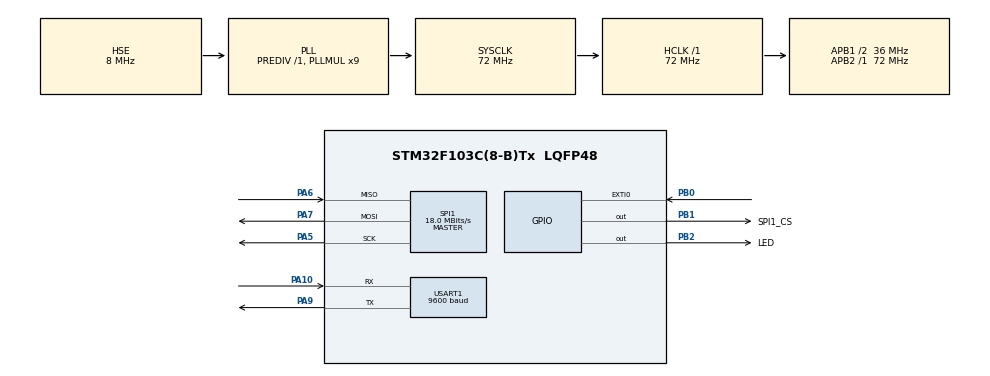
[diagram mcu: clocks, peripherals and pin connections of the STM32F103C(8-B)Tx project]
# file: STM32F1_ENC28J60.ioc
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Mcu.Family=STM32F1
Mcu.Name=STM32F103C(8-B)Tx
Mcu.Package=LQFP48
NVIC.PriorityGroup=NVIC_PRIORITYGROUP_4
NVIC.TIM2_IRQn=true\:0\:0\:false\:false\:true\:true\:true\:true
NVIC.USART1_IRQn=true\:0\:0\:false\:false\:true\:true\:true\:true
PA10.Mode=Asynchronous
PA10.Signal=USART1_RX
PA13.Mode=Serial_Wire
PA13.Signal=SYS_JTMS-SWDIO
PA14.Mode=Serial_Wire
PA14.Signal=SYS_JTCK-SWCLK
PA5.Mode=Full_Duplex_Master
PA5.Signal=SPI1_SCK
PA6.Mode=Full_Duplex_Master
PA6.Signal=SPI1_MISO
PA7.Mode=Full_Duplex_Master
PA7.Signal=SPI1_MOSI
PA9.Mode=Asynchronous
PA9.Signal=USART1_TX
PB0.GPIO_ModeDefaultEXTI=GPIO_MODE_IT_FALLING
PB0.GPIO_PuPd=GPIO_PULLUP
PB0.Signal=GPXTI0
PB1.GPIO_Label=SPI1_CS
PB1.GPIO_PuPd=GPIO_PULLUP
PB1.GPIO_Speed=GPIO_SPEED_FREQ_HIGH
PB1.PinState=GPIO_PIN_SET
PB1.Signal=GPIO_Output
PB2.GPIO_Label=LED
PB2.Signal=GPIO_Output
PD0-OSC_IN.Mode=HSE-External-Oscillator
PD0-OSC_IN.Signal=RCC_OSC_IN
PD1-OSC_OUT.Mode=HSE-External-Oscillator
PD1-OSC_OUT.Signal=RCC_OSC_OUT
ProjectManager.HeapSize=0x200
ProjectManager.StackSize=0x400
ProjectManager.TargetToolchain=MDK-ARM V5.32
RCC.AHBFreq_Value=72000000
RCC.APB1CLKDivider=RCC_HCLK_DIV2
RCC.APB1Freq_Value=36000000
RCC.APB1TimFreq_Value=72000000
RCC.APB2Freq_Value=72000000
RCC.APB2TimFreq_Value=72000000
RCC.HCLKFreq_Value=72000000
RCC.PLLMUL=RCC_PLL_MUL9
RCC.PLLSourceVirtual=RCC_PLLSOURCE_HSE
RCC.SYSCLKFreq_VALUE=72000000
RCC.SYSCLKSource=RCC_SYSCLKSOURCE_PLLCLK
RCC.USBFreq_Value=72000000
SPI1.BaudRatePrescaler=SPI_BAUDRATEPRESCALER_4
SPI1.CalculateBaudRate=18.0 MBits/s
SPI1.Direction=SPI_DIRECTION_2LINES
SPI1.Mode=SPI_MODE_MASTER
SPI1.VirtualType=VM_MASTER
TIM2.Period=10000
TIM2.Prescaler=7200-1
USART1.BaudRate=9600
USART1.VirtualMode=VM_ASYNC
VP_TIM2_VS_ClockSourceINT.Mode=Internal
board=custom

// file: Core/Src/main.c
/* USER CODE BEGIN Header */
/**
  ******************************************************************************
  * @file           : main.c
  * @brief          : Main program body
  ******************************************************************************
  * @attention
  *
  * Copyright (c) 2023 STMicroelectronics.
  * All rights reserved.
  *
  * This software is licensed under terms that can be found in the LICENSE file
  * in the root directory of this software component.
  * If no LICENSE file comes with this software, it is provided AS-IS.
  *
  ******************************************************************************
  */
/* USER CODE END Header */
#include "main.h"

/* USER CODE BEGIN Includes */
#include "enc28j60.h"
#include "uart.h"
#include "lwip_user.h"
#include "mqtt.h"
#include "mqtt_client.h"
#include "dns.h"
/* USER CODE END Includes */

SPI_HandleTypeDef hspi1;

TIM_HandleTypeDef htim2;

UART_HandleTypeDef huart1;

void SystemClock_Config(void);
static void MX_GPIO_Init(void);
static void MX_SPI1_Init(void);
static void MX_USART1_UART_Init(void);
static void MX_TIM2_Init(void);

/* USER CODE BEGIN 0 */
char ETH_CONNECT_OK = 0;
static void dns_initialize(void)
{
    ip_addr_t dns_server_0 = IPADDR4_INIT_BYTES(8, 8, 8, 8);
    ip_addr_t dns_server_1 = IPADDR4_INIT_BYTES(1, 1, 1, 1);
    dns_setserver(0, &dns_server_0);
    dns_setserver(1, &dns_server_1);
    dns_init();
}
uint32_t time;
/* USER CODE END 0 */

int main(void)
{

  /* MCU Configuration--------------------------------------------------------*/

  /* Reset of all peripherals, Initializes the Flash interface and the Systick. */
  HAL_Init();

  /* Configure the system clock */
  SystemClock_Config();

  /* Initialize all configured peripherals */
  MX_GPIO_Init();
  MX_SPI1_Init();
  MX_USART1_UART_Init();
  MX_TIM2_Init();
  /* USER CODE BEGIN 2 */
  UART_init(&huart1);
	ENC29J600_ini(&hspi1);
	lwip_config_init();
	dns_initialize();
	mqtt_client_cfg_t mqtt_cfg =
	{
			.periodic_sub_req_s = 1,            // period second
			.broker_addr = "broker.hivemq.com",
			.port = 1883,
			.password = NULL,
			.client_id = "465d777f41f140b69fcdd258c1d38671",
	};
	mqtt_client_initialize(&mqtt_cfg);

  /* USER CODE END 2 */

  /* Infinite loop */
  /* USER CODE BEGIN WHILE */
  while (1)
  {
		lwip_periodic_handle();				// HANDLE CONNECT ETH
		if(ETH_IPOK())
		{
				//ETH_CONNECT_OK = 1;
				mqtt_client_polling_task(NULL);
				if(HAL_GetTick() - time > 100)
				{
					HAL_GPIO_TogglePin(GPIOB, GPIO_PIN_2);
					time = HAL_GetTick();
				}
		}

    /* USER CODE END WHILE */

  }
}

void SystemClock_Config(void)
{
  RCC_OscInitTypeDef RCC_OscInitStruct = {0};
  RCC_ClkInitTypeDef RCC_ClkInitStruct = {0};

  /** Initializes the RCC Oscillators according to the specified parameters
  * in the RCC_OscInitTypeDef structure.
  */
  RCC_OscInitStruct.OscillatorType = RCC_OSCILLATORTYPE_HSE;
  RCC_OscInitStruct.HSEState = RCC_HSE_ON;
  RCC_OscInitStruct.HSEPredivValue = RCC_HSE_PREDIV_DIV1;
  RCC_OscInitStruct.HSIState = RCC_HSI_ON;
  RCC_OscInitStruct.PLL.PLLState = RCC_PLL_ON;
  RCC_OscInitStruct.PLL.PLLSource = RCC_PLLSOURCE_HSE;
  RCC_OscInitStruct.PLL.PLLMUL = RCC_PLL_MUL9;
  if (HAL_RCC_OscConfig(&RCC_OscInitStruct) != HAL_OK)
  {
    Error_Handler();
  }

  /** Initializes the CPU, AHB and APB buses clocks
  */
  RCC_ClkInitStruct.ClockType = RCC_CLOCKTYPE_HCLK|RCC_CLOCKTYPE_SYSCLK
                              |RCC_CLOCKTYPE_PCLK1|RCC_CLOCKTYPE_PCLK2;
  RCC_ClkInitStruct.SYSCLKSource = RCC_SYSCLKSOURCE_PLLCLK;
  RCC_ClkInitStruct.AHBCLKDivider = RCC_SYSCLK_DIV1;
  RCC_ClkInitStruct.APB1CLKDivider = RCC_HCLK_DIV2;
  RCC_ClkInitStruct.APB2CLKDivider = RCC_HCLK_DIV1;

  if (HAL_RCC_ClockConfig(&RCC_ClkInitStruct, FLASH_LATENCY_2) != HAL_OK)
  {
    Error_Handler();
  }
}

static void MX_SPI1_Init(void)
{

  /* SPI1 parameter configuration*/
  hspi1.Instance = SPI1;
  hspi1.Init.Mode = SPI_MODE_MASTER;
  hspi1.Init.Direction = SPI_DIRECTION_2LINES;
  hspi1.Init.DataSize = SPI_DATASIZE_8BIT;
  hspi1.Init.CLKPolarity = SPI_POLARITY_LOW;
  hspi1.Init.CLKPhase = SPI_PHASE_1EDGE;
  hspi1.Init.NSS = SPI_NSS_SOFT;
  hspi1.Init.BaudRatePrescaler = SPI_BAUDRATEPRESCALER_4;
  hspi1.Init.FirstBit = SPI_FIRSTBIT_MSB;
  hspi1.Init.TIMode = SPI_TIMODE_DISABLE;
  hspi1.Init.CRCCalculation = SPI_CRCCALCULATION_DISABLE;
  hspi1.Init.CRCPolynomial = 10;
  if (HAL_SPI_Init(&hspi1) != HAL_OK)
  {
    Error_Handler();
  }

}

static void MX_TIM2_Init(void)
{

  TIM_ClockConfigTypeDef sClockSourceConfig = {0};
  TIM_MasterConfigTypeDef sMasterConfig = {0};

  htim2.Instance = TIM2;
  htim2.Init.Prescaler = 7200-1;
  htim2.Init.CounterMode = TIM_COUNTERMODE_UP;
  htim2.Init.Period = 10000;
  htim2.Init.ClockDivision = TIM_CLOCKDIVISION_DIV1;
  htim2.Init.AutoReloadPreload = TIM_AUTORELOAD_PRELOAD_DISABLE;
  if (HAL_TIM_Base_Init(&htim2) != HAL_OK)
  {
    Error_Handler();
  }
  sClockSourceConfig.ClockSource = TIM_CLOCKSOURCE_INTERNAL;
  if (HAL_TIM_ConfigClockSource(&htim2, &sClockSourceConfig) != HAL_OK)
  {
    Error_Handler();
  }
  sMasterConfig.MasterOutputTrigger = TIM_TRGO_RESET;
  sMasterConfig.MasterSlaveMode = TIM_MASTERSLAVEMODE_DISABLE;
  if (HAL_TIMEx_MasterConfigSynchronization(&htim2, &sMasterConfig) != HAL_OK)
  {
    Error_Handler();
  }

}

static void MX_USART1_UART_Init(void)
{

  huart1.Instance = USART1;
  huart1.Init.BaudRate = 9600;
  huart1.Init.WordLength = UART_WORDLENGTH_8B;
  huart1.Init.StopBits = UART_STOPBITS_1;
  huart1.Init.Parity = UART_PARITY_NONE;
  huart1.Init.Mode = UART_MODE_TX_RX;
  huart1.Init.HwFlowCtl = UART_HWCONTROL_NONE;
  huart1.Init.OverSampling = UART_OVERSAMPLING_16;
  if (HAL_UART_Init(&huart1) != HAL_OK)
  {
    Error_Handler();
  }

}

static void MX_GPIO_Init(void)
{
  GPIO_InitTypeDef GPIO_InitStruct = {0};

  /* GPIO Ports Clock Enable */
  __HAL_RCC_GPIOD_CLK_ENABLE();
  __HAL_RCC_GPIOA_CLK_ENABLE();
  __HAL_RCC_GPIOB_CLK_ENABLE();

  /*Configure GPIO pin Output Level */
  HAL_GPIO_WritePin(GPIOB, GPIO_PIN_1, GPIO_PIN_SET);

  /*Configure GPIO pin Output Level */
  HAL_GPIO_WritePin(GPIOB, GPIO_PIN_2, GPIO_PIN_RESET);

  /*Configure GPIO pin : PB0 */
  GPIO_InitStruct.Pin = GPIO_PIN_0;
  GPIO_InitStruct.Mode = GPIO_MODE_IT_FALLING;
  GPIO_InitStruct.Pull = GPIO_PULLUP;
  HAL_GPIO_Init(GPIOB, &GPIO_InitStruct);

  /*Configure GPIO pin : PB1 */
  GPIO_InitStruct.Pin = GPIO_PIN_1;
  GPIO_InitStruct.Mode = GPIO_MODE_OUTPUT_PP;
  GPIO_InitStruct.Pull = GPIO_PULLUP;
  GPIO_InitStruct.Speed = GPIO_SPEED_FREQ_HIGH;
  HAL_GPIO_Init(GPIOB, &GPIO_InitStruct);

  /*Configure GPIO pin : PB2 */
  GPIO_InitStruct.Pin = GPIO_PIN_2;
  GPIO_InitStruct.Mode = GPIO_MODE_OUTPUT_PP;
  GPIO_InitStruct.Pull = GPIO_NOPULL;
  GPIO_InitStruct.Speed = GPIO_SPEED_FREQ_LOW;
  HAL_GPIO_Init(GPIOB, &GPIO_InitStruct);

}

void Error_Handler(void)
{
  __disable_irq();
  while (1)
  {
  }
}
